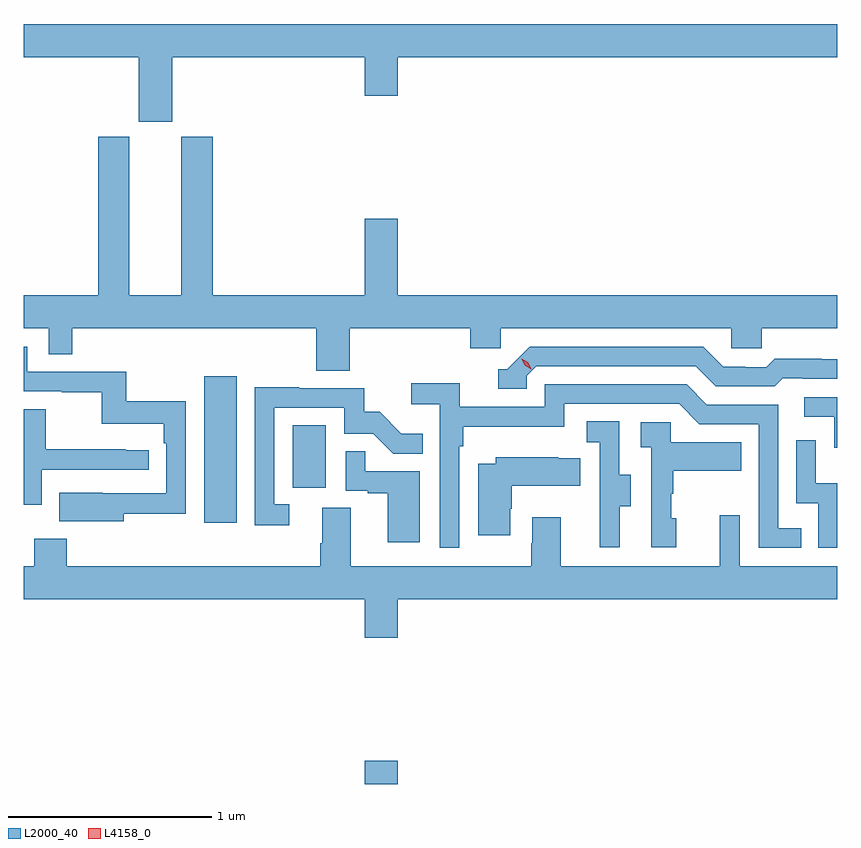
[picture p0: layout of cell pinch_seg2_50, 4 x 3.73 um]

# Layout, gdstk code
import gdstk
lib = gdstk.Library(unit=1e-6, precision=1e-09)
def R(c, l, rs):  # rectangles x0, y0, x1, y1
    for r in rs: c.add(gdstk.rectangle(r[:2], r[2:], *l))
def P(c, l, *ps):  # polygons
    for p in ps: c.add(gdstk.Polygon(p, *l))
L2000_40 = (2000, 40)
L4158_0 = (4158, 0)

pinch_seg2_50 = lib.new_cell('pinch_seg2_50')
R(pinch_seg2_50, L2000_40, [(1076.096,661.381,1076.26,661.495), (1075.307,662.664,1075.468,663.385), (1075.742,662.838,1075.906,663.145)])
P(pinch_seg2_50, L2000_40, [(1075.15,664.952),(1076.096,664.952),(1076.096,664.764),(1076.26,664.764),(1076.26,664.952),(1078.42,664.952),(1078.42,665.116),(1074.42,665.116),(1074.42,664.952),(1074.986,664.952),(1074.986,664.635),(1075.15,664.635)],
  [(1076.024,663.62),(1076.615,663.62),(1076.615,663.522),(1076.766,663.522),(1076.766,663.62),(1077.897,663.62),(1077.897,663.522),(1078.047,663.522),(1078.047,663.62),(1078.42,663.62),(1078.42,663.784),(1076.26,663.784),(1076.26,664.159),(1076.096,664.159),(1076.096,663.784),(1075.349,663.784),(1075.349,664.563),(1075.196,664.563),(1075.196,663.784),(1074.94,663.784),(1074.94,664.563),(1074.788,664.563),(1074.788,663.784),(1074.42,663.784),(1074.42,663.62),(1074.543,663.62),(1074.543,663.493),(1074.659,663.493),(1074.659,663.62),(1075.859,663.62),(1075.859,663.412),(1076.024,663.412)],
  [(1074.913,662.71),(1075.218,662.71),(1075.218,663.262),(1074.925,663.262),(1074.925,663.408),(1074.438,663.408),(1074.438,663.531),(1074.42,663.531),(1074.42,663.312),(1074.607,663.312),(1074.607,663.307),(1074.804,663.307),(1074.804,663.152),(1075.109,663.152),(1075.109,663.056),(1075.122,663.056),(1075.122,662.811),(1074.809,662.811),(1074.809,662.812),(1074.595,662.812),(1074.595,662.672),(1074.913,662.672)],
  [(1076.892,663.387),(1076.94,663.435),(1077.723,663.435),(1077.822,663.336),(1078.111,663.336),(1078.15,663.375),(1078.249,663.375),(1078.249,663.372),(1078.42,663.372),(1078.42,663.469),(1078.344,663.469),(1078.344,663.472),(1078.111,663.472),(1078.069,663.429),(1077.966,663.429),(1077.966,663.432),(1077.859,663.432),(1077.76,663.531),(1076.907,663.531),(1076.796,663.42),(1076.753,663.42),(1076.753,663.324),(1076.892,663.324)],
  [(1076.562,663.041),(1076.582,663.041),(1076.582,663.137),(1077.078,663.137),(1077.078,663.249),(1077.642,663.249),(1077.741,663.15),(1078.032,663.15),(1078.032,662.541),(1078.241,662.541),(1078.241,662.637),(1078.128,662.637),(1078.128,663.246),(1077.778,663.246),(1077.679,663.345),(1076.982,663.345),(1076.982,663.234),(1076.564,663.234),(1076.564,663.35),(1076.325,663.35),(1076.325,663.248),(1076.466,663.248),(1076.466,662.541),(1076.562,662.541)],
  [(1075.726,662.757),(1075.653,662.757),(1075.653,663.231),(1075.995,663.231),(1075.995,663.102),(1076.139,663.102),(1076.237,663.004),(1076.381,663.004),(1076.381,663.103),(1076.277,663.103),(1076.17,663.21),(1076.094,663.21),(1076.094,663.327),(1075.775,663.327),(1075.775,663.332),(1075.557,663.332),(1075.557,662.652),(1075.726,662.652)],
  [(1078.42,663.282),(1078.257,663.282),(1078.257,663.186),(1078.404,663.186),(1078.404,663.033),(1078.42,663.033)],
  [(1074.51,662.925),(1075.036,662.925),(1075.036,663.021),(1074.923,663.021),(1074.923,663.026),(1074.53,663.026),(1074.53,663.222),(1074.42,663.222),(1074.42,662.753),(1074.51,662.753)],
  [(1077.349,662.746),(1077.403,662.746),(1077.403,662.901),(1077.348,662.901),(1077.348,663.164),(1077.189,663.164),(1077.189,663.061),(1077.252,663.061),(1077.252,662.757),(1077.251,662.757),(1077.251,662.544),(1077.349,662.544)],
  [(1077.628,662.688),(1077.603,662.688),(1077.603,662.807),(1077.613,662.807),(1077.613,662.921),(1077.947,662.921),(1077.947,663.061),(1077.6,663.061),(1077.6,663.159),(1077.453,663.159),(1077.453,663.035),(1077.504,663.035),(1077.504,662.544),(1077.628,662.544)],
  [(1078.42,662.858),(1078.314,662.858),(1078.314,663.07),(1078.218,663.07),(1078.218,662.76),(1078.326,662.76),(1078.326,662.541),(1078.42,662.541)],
  [(1076.368,662.919),(1076.099,662.919),(1076.099,663.017),(1076.004,663.017),(1076.004,662.823),(1076.111,662.823),(1076.111,662.811),(1076.21,662.811),(1076.21,662.568),(1076.368,662.568)],
  [(1076.812,662.733),(1076.82,662.733),(1076.82,662.846),(1077.155,662.846),(1077.155,662.983),(1077.047,662.983),(1077.047,662.986),(1076.741,662.986),(1076.741,662.956),(1076.654,662.956),(1076.654,662.604),(1076.812,662.604)],
  [(1076.26,662.288),(1078.42,662.288),(1078.42,662.452),(1077.939,662.452),(1077.939,662.701),(1077.842,662.701),(1077.842,662.452),(1077.061,662.452),(1077.061,662.692),(1076.921,662.692),(1076.921,662.564),(1076.914,662.564),(1076.914,662.452),(1076.029,662.452),(1076.029,662.738),(1075.889,662.738),(1075.889,662.564),(1075.877,662.564),(1075.877,662.452),(1074.632,662.452),(1074.632,662.587),(1074.472,662.587),(1074.472,662.452),(1074.42,662.452),(1074.42,662.288),(1076.096,662.288),(1076.096,662.1),(1076.26,662.1)])
P(pinch_seg2_50, L4158_0, [(1076.915,663.42),(1076.884,663.439),(1076.868,663.472),(1076.868,663.472),(1076.868,663.472),(1076.899,663.453),(1076.915,663.421),(1076.915,663.42)])

lib.write_gds('pinch_seg2_50.gds')
